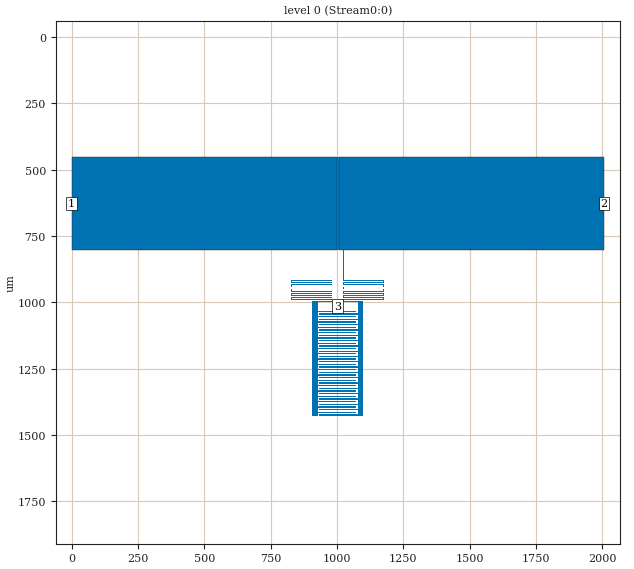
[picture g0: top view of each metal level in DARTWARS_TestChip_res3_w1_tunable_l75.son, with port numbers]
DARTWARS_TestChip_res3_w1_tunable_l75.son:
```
FTYP SONPROJ 19 ! Sonnet Project File
VER 18.52
HEADER
LIC nist5.1.52437
DAT 07/21/2023 09:06:42
BUILT_BY_CREATED gds 18.52 07/28/2022 13:49:38
BUILT_BY_SAVED sonnet 18.52
MDATE 07/13/2023 16:04:57
HDATE 07/13/2023 16:04:57
END HEADER
DIM
ANG DEG
CAP PF
CON /OH
FREQ GHZ
IND NH
LNG UM
RES OH
END DIM
CONTROL
VARSWP
OPTIONS  -d
SPEED 0
CACHE_ABS 2
Q_ACC N
END CONTROL
GEO
TMET "Lossless" 0 SUP 0 0 0 0
BMET "Lossless" 0 SUP 0 0 0 0
MET "NbTiN" 1 SUP 0 0 0 "Lk"
BOX 1 2006 1849 4012 3698 20 0
      1000 1 1 0 0 0 0 "Air"
      525 11.9 1 0 0 0 0 "Si"
TECHLAY METAL Stream0:0 <UNSPECIFIED> 0 0 
0 0 0 N 171 1 1 100 100 0 0 0 Y
END
END
VALVAR Lk NONE 8.5 "Kinetic Inductance"
VALVAR l LNG 75 "Dim. Param."
DIM STD YDIR 1
POS -24.57563758 0.9316996197
NOM 1
REF1 POLY 119 1
19
REF2 POLY 119 1
16
END
DIM STD YDIR 1
POS -31.07636282 3.269371817
NOM 5
REF1 POLY 120 1
7
REF2 POLY 120 1
8
END
DIM STD XDIR 1
POS 1800.709158 -112.9543426
NOM 2006
REF1 POLY 22 1
1
REF2 POLY 4 1
2
END
DIM STD XDIR 1
POS 18.83305332 4.13159435
NOM 17
REF1 POLY 114 1
0
REF2 POLY 22 1
3
END
DIM STD XDIR 1
POS 907.8475597 -49.1155296
NOM 1000
REF1 POLY 22 1
1
REF2 POLY 22 1
2
END
DIM STD XDIR 1
POS 20.35174853 4.031911947
NOM 17
REF1 POLY 4 1
0
REF2 POLY 116 1
1
END
DIM STD XDIR 1
POS 910.7094048 -47.07807678
NOM 1000
REF1 POLY 4 1
1
REF2 POLY 4 1
2
END
LORGN 0 1849 U 
POR1 BOX
POLY 4 1
2
2 50 0 0 0 2006 626 
POR1 BOX
POLY 22 1
0
1 50 0 0 0 0 626 
POR1 GAP
POLY 120 1
3
3 50 0 0 0 1003 1013.5 
NUM 11
0 67 0 N 2 1 1 100 100 0 0 0 Y
TLAYNAM Stream0:0 NOH
908 1426
908 1111
1073 1111
1073 1116
928 1116
928 1131
1073 1131
1073 1136
928 1136
928 1151
1073 1151
1073 1156
928 1156
928 1171
1073 1171
1073 1176
928 1176
928 1191
1073 1191
1073 1196
928 1196
928 1211
1073 1211
1073 1216
928 1216
928 1231
1073 1231
1073 1236
928 1236
928 1251
1073 1251
1073 1256
928 1256
928 1271
1073 1271
1073 1276
928 1276
928 1291
1073 1291
1073 1296
928 1296
928 1311
1073 1311
1073 1316
928 1316
928 1331
1073 1331
1073 1336
928 1336
928 1351
1073 1351
1073 1356
928 1356
928 1371
1073 1371
1073 1376
928 1376
928 1391
1073 1391
1073 1396
928 1396
928 1411
1073 1411
1073 1416
928 1416
928 1426
908 1426
END
0 67 0 N 3 1 1 100 100 0 0 0 Y
TLAYNAM Stream0:0 NOH
933 1426
933 1421
1078 1421
1078 1406
933 1406
933 1401
1078 1401
1078 1386
933 1386
933 1381
1078 1381
1078 1366
933 1366
933 1361
1078 1361
1078 1346
933 1346
933 1341
1078 1341
1078 1326
933 1326
933 1321
1078 1321
1078 1306
933 1306
933 1301
1078 1301
1078 1286
933 1286
933 1281
1078 1281
1078 1266
933 1266
933 1261
1078 1261
1078 1246
933 1246
933 1241
1078 1241
1078 1226
933 1226
933 1221
1078 1221
1078 1206
933 1206
933 1201
1078 1201
1078 1186
933 1186
933 1181
1078 1181
1078 1166
933 1166
933 1161
1078 1161
1078 1146
933 1146
933 1141
1078 1141
1078 1126
933 1126
933 1121
1078 1121
1078 1111
1098 1111
1098 1426
933 1426
END
0 5 0 N 4 1 1 100 100 0 0 0 Y
TLAYNAM Stream0:0 NOH
1006 801
1006 451
2006 451
2006 801
1006 801
END
0 5 0 N 22 1 1 100 100 0 0 0 Y
TLAYNAM Stream0:0 NOH
0 801
0 451
1000 451
1000 801
0 801
END
0 5 0 N 114 1 1 100 100 0 0 0 Y
TLAYNAM Stream0:0 NOH
983 801
980 801
980 916
983 916
983 801
END
0 5 0 N 116 1 1 100 100 0 0 0 Y
TLAYNAM Stream0:0 NOH
1026 801
1023 801
1023 916
1026 916
1026 801
END
0 45 0 N 118 1 1 100 100 0 0 0 Y
TLAYNAM Stream0:0 NOH
983 988
831 988
831 983
983 983
983 972
831 972
831 967
983 967
983 956
831 956
831 951
983 951
983 940
831 940
831 935
983 935
983 924
831 924
831 919
983 919
983 916
828 916
828 927
980 927
980 932
828 932
828 943
980 943
980 948
828 948
828 959
980 959
980 964
828 964
828 975
980 975
980 980
828 980
828 991
980 991
980 996
908 996
908 999
983 999
983 988
END
0 25 0 N 119 1 1 100 100 0 0 0 Y
TLAYNAM Stream0:0 NOH
928 1096
1073 1096
1073 1091
928 1091
928 1076
1073 1076
1073 1071
928 1071
928 1056
1073 1056
1073 1051
928 1051
928 1036
1073 1036
1073 1031
928 1031
928 1014
1003 1014
1003 1013
928 1013
928 999
908 999
908 1111
928 1111
928 1096
END
0 25 0 N 120 1 1 100 100 0 0 0 Y
TLAYNAM Stream0:0 NOH
1098 999
1078 999
1078 1013
1003 1013
1003 1014
1078 1014
1078 1041
933 1041
933 1046
1078 1046
1078 1061
933 1061
933 1066
1078 1066
1078 1081
933 1081
933 1086
1078 1086
1078 1101
933 1101
933 1106
1078 1106
1078 1111
1098 1111
1098 999
END
0 45 0 N 122 1 1 100 100 0 0 0 Y
TLAYNAM Stream0:0 NOH
1023 988
1175 988
1175 983
1023 983
1023 972
1175 972
1175 967
1023 967
1023 956
1175 956
1175 951
1023 951
1023 940
1175 940
1175 935
1023 935
1023 924
1175 924
1175 919
1023 919
1023 916
1178 916
1178 927
1026 927
1026 932
1178 932
1178 943
1026 943
1026 948
1178 948
1178 959
1026 959
1026 964
1178 964
1178 975
1026 975
1026 980
1178 980
1178 991
1026 991
1026 996
1098 996
1098 999
1023 999
1023 988
END
0 5 0 N 161 1 1 100 100 0 0 0 Y
TLAYNAM Stream0:0 INH
1000 451
1006 451
1006 801
1000 801
1000 451
END
END GEO
OPT
MAX 100
END OPT
VARSWP
SWPVARS ON
ENABLED Y
FREQ Y AY ABS_ENTRY 0.1 10.0 -1 300 
VAR Lk Y 5.0 20.0 0.5
VAR l N 50.0 150.0 1.0
END
END VARSWP
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```
